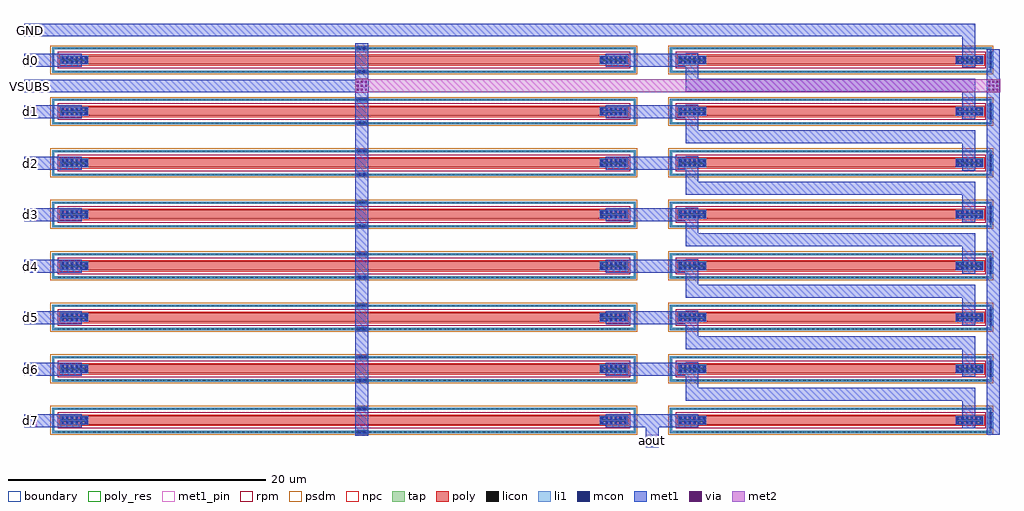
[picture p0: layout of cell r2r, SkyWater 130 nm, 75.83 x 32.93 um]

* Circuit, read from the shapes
.subckt r2r GND VSUBS aout d0 d1 d2 d3 d4 d5 d6 d7
XR1 aout d7 VSUBS sky130_fd_pr__res_high_po w=0.69 l=39.78
XR2 n1 d6 VSUBS sky130_fd_pr__res_high_po w=0.69 l=39.78
XR3 n2 d5 VSUBS sky130_fd_pr__res_high_po w=0.69 l=39.78
XR4 n3 d4 VSUBS sky130_fd_pr__res_high_po w=0.69 l=39.78
XR5 n4 d3 VSUBS sky130_fd_pr__res_high_po w=0.69 l=39.78
XR6 n5 d2 VSUBS sky130_fd_pr__res_high_po w=0.69 l=39.78
XR7 n6 d1 VSUBS sky130_fd_pr__res_high_po w=0.69 l=39.78
XR8 n7 d0 VSUBS sky130_fd_pr__res_high_po w=0.69 l=39.78
XR9 n1 aout VSUBS sky130_fd_pr__res_high_po w=0.69 l=19.43
XR10 n2 n1 VSUBS sky130_fd_pr__res_high_po w=0.69 l=19.43
XR11 n3 n2 VSUBS sky130_fd_pr__res_high_po w=0.69 l=19.43
XR12 n4 n3 VSUBS sky130_fd_pr__res_high_po w=0.69 l=19.43
XR13 n5 n4 VSUBS sky130_fd_pr__res_high_po w=0.69 l=19.43
XR14 n6 n5 VSUBS sky130_fd_pr__res_high_po w=0.69 l=19.43
XR15 n7 n6 VSUBS sky130_fd_pr__res_high_po w=0.69 l=19.43
XR16 GND n7 VSUBS sky130_fd_pr__res_high_po w=0.69 l=19.43
.ends

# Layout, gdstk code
from math import pi, radians
import gdstk
lib = gdstk.Library(unit=1e-6, precision=1e-09)
def R(c, l, rs):  # rectangles x0, y0, x1, y1
    for r in rs: c.add(gdstk.rectangle(r[:2], r[2:], *l))
def A(c, l, x, y, w, h, nx, ny, dx, dy):  # array of equal rectangles
    R(c, l, [(x+i*dx, y+j*dy, x+i*dx+w, y+j*dy+h) for i in range(nx) for j in range(ny)])
tap = (65, 44)
poly_res = (66, 13)
poly = (66, 20)
licon = (66, 44)
li1 = (67, 20)
mcon = (67, 44)
met1_pin = (68, 16)
met1 = (68, 20)
via = (68, 44)
met2 = (69, 20)
rpm = (86, 20)
psdm = (94, 20)
npc = (95, 20)
boundary = (235, 4)

sky130_fd_pr__res_high_p = lib.new_cell('sky130_fd_pr__res_high_po_0p69_5G96UM')
R(sky130_fd_pr__res_high_p, tap, [(-0.995,-12.505,0.995,-12.335), (-0.995,-12.335,-0.825,12.335), (0.825,-12.335,0.995,12.335), (-0.995,12.335,0.995,12.505)])
R(sky130_fd_pr__res_high_p, poly_res, [(-0.345,-9.775,0.345,9.775)])
R(sky130_fd_pr__res_high_p, poly, [(-0.345,-11.855,0.345,11.855)])
A(sky130_fd_pr__res_high_p, licon, -0.425, -12.505, 0.17, 0.17, 3, 2, 0.34, 24.84)
A(sky130_fd_pr__res_high_p, licon, -0.995, -11.985, 0.17, 0.17, 1, 71, 0, 0.34)
A(sky130_fd_pr__res_high_p, licon, 0.825, -11.985, 0.17, 0.17, 1, 71, 0, 0.34)
R(sky130_fd_pr__res_high_p, licon, [(-0.095,-11.775,0.095,-9.775), (-0.095,9.775,0.095,11.775)])
R(sky130_fd_pr__res_high_p, li1, [(-0.995,-12.505,0.995,-12.335), (-0.995,-12.335,-0.825,12.335), (0.825,-12.335,0.995,12.335), (-0.345,-11.855,0.345,-9.695), (-0.345,9.695,0.345,11.855), (-0.995,12.335,0.995,12.505)])
A(sky130_fd_pr__res_high_p, mcon, -0.265, -11.76, 0.17, 0.17, 1, 6, 0, 0.36)
A(sky130_fd_pr__res_high_p, mcon, 0.095, -11.76, 0.17, 0.17, 1, 6, 0, 0.36)
A(sky130_fd_pr__res_high_p, mcon, -0.265, 9.785, 0.17, 0.17, 1, 6, 0, 0.36)
A(sky130_fd_pr__res_high_p, mcon, 0.095, 9.785, 0.17, 0.17, 1, 6, 0, 0.36)
R(sky130_fd_pr__res_high_p, met1, [(-0.295,-11.825,0.295,-9.72), (-0.295,9.72,0.295,11.825)])
R(sky130_fd_pr__res_high_p, rpm, [(-0.635,-12.055,0.635,12.055)])
R(sky130_fd_pr__res_high_p, psdm, [(-1.12,-12.63,1.12,12.63)])
R(sky130_fd_pr__res_high_p, npc, [(-0.44,-11.95,0.44,11.95)])
R(sky130_fd_pr__res_high_p, boundary, [(-0.91,-12.42,0.91,12.42)])

c_sky130_fd_pr__res_high_p = lib.new_cell('sky130_fd_pr__res_high_po_0p69_5ANSK2')
R(c_sky130_fd_pr__res_high_p, tap, [(-0.995,-22.68,0.995,-22.51), (-0.995,-22.51,-0.825,22.51), (0.825,-22.51,0.995,22.51), (-0.995,22.51,0.995,22.68)])
R(c_sky130_fd_pr__res_high_p, poly_res, [(-0.345,-19.95,0.345,19.95)])
R(c_sky130_fd_pr__res_high_p, poly, [(-0.345,-22.03,0.345,22.03)])
A(c_sky130_fd_pr__res_high_p, licon, -0.425, -22.68, 0.17, 0.17, 3, 2, 0.34, 45.19)
A(c_sky130_fd_pr__res_high_p, licon, -0.995, -22.185, 0.17, 0.17, 1, 131, 0, 0.34)
A(c_sky130_fd_pr__res_high_p, licon, 0.825, -22.185, 0.17, 0.17, 1, 131, 0, 0.34)
R(c_sky130_fd_pr__res_high_p, licon, [(-0.095,-21.95,0.095,-19.95), (-0.095,19.95,0.095,21.95)])
R(c_sky130_fd_pr__res_high_p, li1, [(-0.995,-22.68,0.995,-22.51), (-0.995,-22.51,-0.825,22.51), (0.825,-22.51,0.995,22.51), (-0.345,-22.03,0.345,-19.87), (-0.345,19.87,0.345,22.03), (-0.995,22.51,0.995,22.68)])
A(c_sky130_fd_pr__res_high_p, mcon, -0.265, -21.935, 0.17, 0.17, 1, 6, 0, 0.36)
A(c_sky130_fd_pr__res_high_p, mcon, 0.095, -21.935, 0.17, 0.17, 1, 6, 0, 0.36)
A(c_sky130_fd_pr__res_high_p, mcon, -0.265, 19.96, 0.17, 0.17, 1, 6, 0, 0.36)
A(c_sky130_fd_pr__res_high_p, mcon, 0.095, 19.96, 0.17, 0.17, 1, 6, 0, 0.36)
R(c_sky130_fd_pr__res_high_p, met1, [(-0.295,-22,0.295,-19.895), (-0.295,19.895,0.295,22)])
R(c_sky130_fd_pr__res_high_p, rpm, [(-0.635,-22.23,0.635,22.23)])
R(c_sky130_fd_pr__res_high_p, psdm, [(-1.12,-22.805,1.12,22.805)])
R(c_sky130_fd_pr__res_high_p, npc, [(-0.44,-22.125,0.44,22.125)])
R(c_sky130_fd_pr__res_high_p, boundary, [(-0.91,-22.595,0.91,22.595)])

r2r = lib.new_cell('r2r')
A(r2r, li1, 72.93, -27.45, 0.36, 1.26, 1, 8, 0, 4)
R(r2r, li1, [(23.86,-27.9,24.66,-27.56), (23.86,-26.1,24.66,-25.76), (23.86,-23.9,24.66,-23.56), (23.86,-22.1,24.66,-21.76), (23.86,-19.9,24.66,-19.56), (23.86,-18.1,24.66,-17.76), (23.86,-15.9,24.66,-15.56), (23.86,-14.1,24.66,-13.76), (23.86,-11.9,24.66,-11.56), (23.86,-10.1,24.66,-9.76), (23.86,-7.9,24.66,-7.56), (23.86,-6.1,24.66,-5.76), (23.86,-3.9,24.66,-3.56), (23.86,-2.1,24.66,-1.76), (23.86,0.1,24.66,0.44), (23.86,1.9,24.66,2.24)])
A(r2r, mcon, 73.025, -27.445, 0.17, 0.17, 1, 4, 0, 0.36)
A(r2r, mcon, 73.025, -23.445, 0.17, 0.17, 1, 4, 0, 0.36)
A(r2r, mcon, 73.025, -19.445, 0.17, 0.17, 1, 4, 0, 0.36)
A(r2r, mcon, 73.025, -15.445, 0.17, 0.17, 1, 4, 0, 0.36)
A(r2r, mcon, 73.025, -11.445, 0.17, 0.17, 1, 4, 0, 0.36)
A(r2r, mcon, 73.025, -7.445, 0.17, 0.17, 1, 4, 0, 0.36)
A(r2r, mcon, 73.025, -3.445, 0.17, 0.17, 1, 4, 0, 0.36)
A(r2r, mcon, 73.025, 0.555, 0.17, 0.17, 1, 4, 0, 0.36)
R(r2r, mcon, [(23.995,-27.815,24.165,-27.645), (24.355,-27.815,24.525,-27.645), (23.995,-26.015,24.165,-25.845), (24.355,-26.015,24.525,-25.845), (23.995,-23.815,24.165,-23.645), (24.355,-23.815,24.525,-23.645), (23.995,-22.015,24.165,-21.845), (24.355,-22.015,24.525,-21.845), (23.995,-19.815,24.165,-19.645), (24.355,-19.815,24.525,-19.645), (23.995,-18.015,24.165,-17.845), (24.355,-18.015,24.525,-17.845), (23.995,-15.815,24.165,-15.645), (24.355,-15.815,24.525,-15.645), (23.995,-14.015,24.165,-13.845), (24.355,-14.015,24.525,-13.845), (23.995,-11.815,24.165,-11.645), (24.355,-11.815,24.525,-11.645), (23.995,-10.015,24.165,-9.845), (24.355,-10.015,24.525,-9.845), (23.995,-7.815,24.165,-7.645), (24.355,-7.815,24.525,-7.645), (23.995,-6.015,24.165,-5.845), (24.355,-6.015,24.525,-5.845), (23.995,-3.815,24.165,-3.645), (24.355,-3.815,24.525,-3.645), (23.995,-2.015,24.165,-1.845), (24.355,-2.015,24.525,-1.845), (23.995,0.185,24.165,0.355), (24.355,0.185,24.525,0.355), (23.995,1.985,24.165,2.155), (24.355,1.985,24.525,2.155)])
A(r2r, met1_pin, -2, -27.35, 1, 1, 1, 7, 0, 4)
R(r2r, met1_pin, [(46.3,-28.93,47.3,-27.93), (-2,-1.35,-1,-0.35), (-2,0.65,-1,1.65), (-2,3,-1,4)])
A(r2r, met1, 70.89, -27.44, 1, 2.14, 1, 7, 0, 4)
A(r2r, met1, -2, -27.35, 4.5, 1, 1, 8, 0, 4)
A(r2r, met1, 43.18, -27.35, 7.22, 1, 1, 8, 0, 4)
A(r2r, met1, 49.4, -25.3, 22.49, 1, 1, 7, 0, 4)
A(r2r, met1, 49.4, -24.3, 1, 0.95, 1, 7, 0, 4)
A(r2r, met1, 49.4, -22.35, 1, 0.03, 1, 7, 0, 4)
R(r2r, met1, [(46.3,-28.93,47.3,-27.35), (23.75,-28.03,24.75,-1.35), (72.8,-27.95,73.8,1.99), (-2,-1.35,24.75,-1.33), (-2,-1.33,24.78,-0.35), (23.72,-0.35,24.78,-0.33), (23.75,-0.33,24.75,2.48), (70.9,0.59,71.9,3), (-2,3,71.9,4)])
A(r2r, via, 23.855, -1.225, 0.15, 0.15, 3, 3, 0.32, 0.32)
A(r2r, via, 72.905, -1.225, 0.15, 0.15, 3, 3, 0.32, 0.32)
R(r2r, met2, [(23.75,-1.36,24.75,-1.33), (23.75,-1.33,73.83,-0.33), (23.75,-0.33,24.75,-0.3)])
r2r.add(gdstk.Reference(sky130_fd_pr__res_high_p, (60.685,-26.825), rotation=3*pi/2))
r2r.add(gdstk.Reference(sky130_fd_pr__res_high_p, (60.685,-22.825), rotation=3*pi/2))
r2r.add(gdstk.Reference(sky130_fd_pr__res_high_p, (60.685,-18.825), rotation=3*pi/2))
r2r.add(gdstk.Reference(sky130_fd_pr__res_high_p, (60.685,-14.825), rotation=3*pi/2))
r2r.add(gdstk.Reference(sky130_fd_pr__res_high_p, (60.685,-10.825), rotation=3*pi/2))
r2r.add(gdstk.Reference(sky130_fd_pr__res_high_p, (60.685,-6.825), rotation=3*pi/2))
r2r.add(gdstk.Reference(sky130_fd_pr__res_high_p, (60.685,-2.825), rotation=3*pi/2))
r2r.add(gdstk.Reference(sky130_fd_pr__res_high_p, (60.685,1.175), rotation=3*pi/2))
r2r.add(gdstk.Reference(c_sky130_fd_pr__res_high_p, (22.86,-26.825), rotation=3*pi/2))
r2r.add(gdstk.Reference(c_sky130_fd_pr__res_high_p, (22.86,-22.825), rotation=3*pi/2))
r2r.add(gdstk.Reference(c_sky130_fd_pr__res_high_p, (22.86,-18.825), rotation=3*pi/2))
r2r.add(gdstk.Reference(c_sky130_fd_pr__res_high_p, (22.86,-14.825), rotation=3*pi/2))
r2r.add(gdstk.Reference(c_sky130_fd_pr__res_high_p, (22.86,-10.825), rotation=3*pi/2))
r2r.add(gdstk.Reference(c_sky130_fd_pr__res_high_p, (22.86,-6.825), rotation=3*pi/2))
r2r.add(gdstk.Reference(c_sky130_fd_pr__res_high_p, (22.86,-2.825), rotation=3*pi/2))
r2r.add(gdstk.Reference(c_sky130_fd_pr__res_high_p, (22.86,1.175), rotation=3*pi/2))
r2r.add(gdstk.Label('aout', (46.8,-28.43), layer=68, texttype=5))
r2r.add(gdstk.Label('d7', (-1.5,-26.85), layer=68, texttype=5))
r2r.add(gdstk.Label('d6', (-1.5,-22.85), layer=68, texttype=5))
r2r.add(gdstk.Label('d5', (-1.5,-18.85), layer=68, texttype=5))
r2r.add(gdstk.Label('d4', (-1.5,-14.85), layer=68, texttype=5))
r2r.add(gdstk.Label('d3', (-1.5,-10.85), layer=68, texttype=5))
r2r.add(gdstk.Label('d2', (-1.5,-6.85), layer=68, texttype=5))
r2r.add(gdstk.Label('d1', (-1.5,-2.85), layer=68, texttype=5))
r2r.add(gdstk.Label('d0', (-1.5,1.15), layer=68, texttype=5))
r2r.add(gdstk.Label('GND', (-1.5,3.5), layer=68, texttype=5))
r2r.add(gdstk.Label('VSUBS', (-1.5,-0.85), layer=68, texttype=5))

lib.write_gds('r2r.gds')
